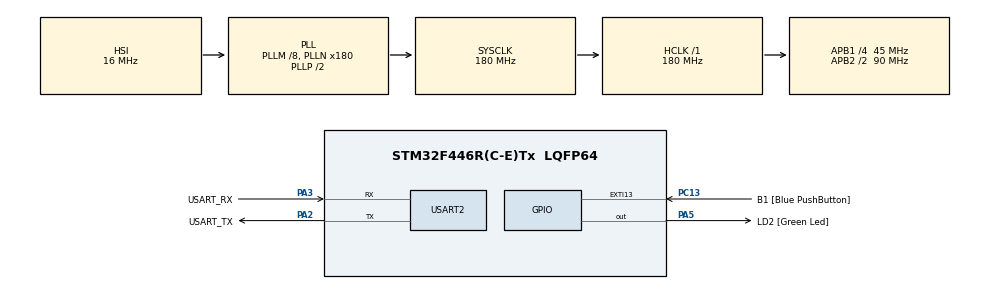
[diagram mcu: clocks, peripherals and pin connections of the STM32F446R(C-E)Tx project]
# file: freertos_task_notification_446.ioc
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FREERTOS.Tasks01=defaultTask,24,128,StartDefaultTask,Default,NULL,Dynamic,NULL,NULL
FREERTOS.configUSE_NEWLIB_REENTRANT=1
Mcu.Family=STM32F4
Mcu.Name=STM32F446R(C-E)Tx
Mcu.Package=LQFP64
NVIC.PriorityGroup=NVIC_PRIORITYGROUP_4
NVIC.TIM8_TRG_COM_TIM14_IRQn=true\:15\:0\:false\:false\:true\:false\:false\:true\:true
NVIC.TimeBase=TIM8_TRG_COM_TIM14_IRQn
NVIC.TimeBaseIP=TIM14
PA13.GPIO_Label=TMS
PA13.Mode=Serial_Wire
PA13.Signal=SYS_JTMS-SWDIO
PA14.GPIO_Label=TCK
PA14.Mode=Serial_Wire
PA14.Signal=SYS_JTCK-SWCLK
PA2.GPIO_Label=USART_TX
PA2.Mode=Asynchronous
PA2.Signal=USART2_TX
PA3.GPIO_Label=USART_RX
PA3.Mode=Asynchronous
PA3.Signal=USART2_RX
PA5.GPIO_Label=LD2 [Green Led]
PA5.Signal=GPIO_Output
PB3.GPIO_Label=SWO
PB3.Signal=SYS_JTDO-SWO
PC13.GPIO_Label=B1 [Blue PushButton]
PC13.GPIO_ModeDefaultEXTI=GPIO_MODE_IT_FALLING
PC13.Signal=GPXTI13
PC14-OSC32_IN.Mode=LSE-External-Oscillator
PC14-OSC32_IN.Signal=RCC_OSC32_IN
PC15-OSC32_OUT.Mode=LSE-External-Oscillator
PC15-OSC32_OUT.Signal=RCC_OSC32_OUT
PH0-OSC_IN.Mode=HSE-External-Oscillator
PH0-OSC_IN.Signal=RCC_OSC_IN
PH1-OSC_OUT.Mode=HSE-External-Oscillator
PH1-OSC_OUT.Signal=RCC_OSC_OUT
ProjectManager.HeapSize=0x200
ProjectManager.StackSize=0x400
ProjectManager.TargetToolchain=STM32CubeIDE
RCC.48MHZClocksFreq_Value=84000000
RCC.AHBFreq_Value=180000000
RCC.APB1CLKDivider=RCC_HCLK_DIV4
RCC.APB1Freq_Value=45000000
RCC.APB1TimFreq_Value=90000000
RCC.APB2CLKDivider=RCC_HCLK_DIV2
RCC.APB2Freq_Value=90000000
RCC.APB2TimFreq_Value=180000000
RCC.CortexFreq_Value=180000000
RCC.FLatency-AdvancedSettings=FLASH_LATENCY_5
RCC.HCLKFreq_Value=180000000
RCC.HSE_VALUE=8000000
RCC.HSI_VALUE=16000000
RCC.PLLM=8
RCC.PLLN=180
RCC.SYSCLKFreq_VALUE=180000000
RCC.SYSCLKSource=RCC_SYSCLKSOURCE_PLLCLK
RCC.USBFreq_Value=180000000
RCC.VCOOutputFreq_Value=360000000
USART2.VirtualMode=VM_ASYNC
VP_FREERTOS_VS_CMSIS_V2.Mode=CMSIS_V2
VP_SYS_VS_tim14.Mode=TIM14
board=NUCLEO-F446RE

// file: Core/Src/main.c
/* USER CODE BEGIN Header */
/**
  ******************************************************************************
  * @file           : main.c
  * @brief          : Main program body
  ******************************************************************************
  * @attention
  *
  * Copyright (c) 2026 STMicroelectronics.
  * All rights reserved.
  *
  * This software is licensed under terms that can be found in the LICENSE file
  * in the root directory of this software component.
  * If no LICENSE file comes with this software, it is provided AS-IS.
  *
  ******************************************************************************
  */
/* USER CODE END Header */
#include "main.h"
#include "cmsis_os.h"

/* USER CODE BEGIN Includes */
#include "task.h"
/* USER CODE END Includes */

UART_HandleTypeDef huart2;

/* Definitions for defaultTask */
osThreadId_t defaultTaskHandle;
const osThreadAttr_t defaultTask_attributes = {
  .name = "defaultTask",
  .stack_size = 128 * 4,
  .priority = (osPriority_t) osPriorityNormal,
};
/* USER CODE BEGIN PV */
TaskHandle_t puntero_tarea_led, puntero_tarea_boton;
/* USER CODE END PV */

void SystemClock_Config(void);
static void MX_GPIO_Init(void);
static void MX_USART2_UART_Init(void);
void StartDefaultTask(void *argument);

/* USER CODE BEGIN 0 */
void tarealed(void *p)
{
	while(1)
	{
		ulTaskNotifyTake(pdTRUE, portMAX_DELAY);
		HAL_GPIO_WritePin(LD2_GPIO_Port, LD2_Pin, GPIO_PIN_SET);
		vTaskDelay(pdMS_TO_TICKS(500));
		HAL_GPIO_WritePin(LD2_GPIO_Port, LD2_Pin, GPIO_PIN_RESET);
	}
}

void tareaboton(void *p)
{
	TickType_t anterior = xTaskGetTickCount();
	GPIO_PinState estado_anterior = HAL_GPIO_ReadPin(B1_GPIO_Port, B1_Pin);
	while(1)
	{
		GPIO_PinState estado_actual = HAL_GPIO_ReadPin(B1_GPIO_Port, B1_Pin);
		if(estado_actual == GPIO_PIN_RESET && estado_anterior == GPIO_PIN_SET)
		{
			if(xTaskGetTickCount()-anterior>=pdMS_TO_TICKS(50))
			{
						anterior = xTaskGetTickCount();
						xTaskNotifyGive(puntero_tarea_led);
			}
		}
		estado_anterior = estado_actual;
		vTaskDelay(pdMS_TO_TICKS(5));
	}
}
/* USER CODE END 0 */

int main(void)
{

  /* MCU Configuration--------------------------------------------------------*/

  /* Reset of all peripherals, Initializes the Flash interface and the Systick. */
  HAL_Init();

  /* Configure the system clock */
  SystemClock_Config();

  /* Initialize all configured peripherals */
  MX_GPIO_Init();
  MX_USART2_UART_Init();

  /* Init scheduler */
  osKernelInitialize();

  /* Create the thread(s) */
  /* creation of defaultTask */
  defaultTaskHandle = osThreadNew(StartDefaultTask, NULL, &defaultTask_attributes);

  /* USER CODE BEGIN RTOS_THREADS */
  /* add threads, ... */
  xTaskCreate(tarealed,
		  	  "led",
			  configMINIMAL_STACK_SIZE,
			  NULL,
			  osPriorityNormal,
			  &puntero_tarea_led);

  xTaskCreate(tareaboton,
  		  	  "btn",
  			  configMINIMAL_STACK_SIZE,
  			  NULL,
  			  osPriorityNormal,
  			  &puntero_tarea_boton);
  /* USER CODE END RTOS_THREADS */

  /* Start scheduler */
  osKernelStart();

  /* We should never get here as control is now taken by the scheduler */

  /* Infinite loop */
  while (1)
  {

  }
}

void SystemClock_Config(void)
{
  RCC_OscInitTypeDef RCC_OscInitStruct = {0};
  RCC_ClkInitTypeDef RCC_ClkInitStruct = {0};

  /** Configure the main internal regulator output voltage
  */
  __HAL_RCC_PWR_CLK_ENABLE();
  __HAL_PWR_VOLTAGESCALING_CONFIG(PWR_REGULATOR_VOLTAGE_SCALE1);

  /** Initializes the RCC Oscillators according to the specified parameters
  * in the RCC_OscInitTypeDef structure.
  */
  RCC_OscInitStruct.OscillatorType = RCC_OSCILLATORTYPE_HSI;
  RCC_OscInitStruct.HSIState = RCC_HSI_ON;
  RCC_OscInitStruct.HSICalibrationValue = RCC_HSICALIBRATION_DEFAULT;
  RCC_OscInitStruct.PLL.PLLState = RCC_PLL_ON;
  RCC_OscInitStruct.PLL.PLLSource = RCC_PLLSOURCE_HSI;
  RCC_OscInitStruct.PLL.PLLM = 8;
  RCC_OscInitStruct.PLL.PLLN = 180;
  RCC_OscInitStruct.PLL.PLLP = RCC_PLLP_DIV2;
  RCC_OscInitStruct.PLL.PLLQ = 2;
  RCC_OscInitStruct.PLL.PLLR = 2;
  if (HAL_RCC_OscConfig(&RCC_OscInitStruct) != HAL_OK)
  {
    Error_Handler();
  }

  /** Activate the Over-Drive mode
  */
  if (HAL_PWREx_EnableOverDrive() != HAL_OK)
  {
    Error_Handler();
  }

  /** Initializes the CPU, AHB and APB buses clocks
  */
  RCC_ClkInitStruct.ClockType = RCC_CLOCKTYPE_HCLK|RCC_CLOCKTYPE_SYSCLK
                              |RCC_CLOCKTYPE_PCLK1|RCC_CLOCKTYPE_PCLK2;
  RCC_ClkInitStruct.SYSCLKSource = RCC_SYSCLKSOURCE_PLLCLK;
  RCC_ClkInitStruct.AHBCLKDivider = RCC_SYSCLK_DIV1;
  RCC_ClkInitStruct.APB1CLKDivider = RCC_HCLK_DIV4;
  RCC_ClkInitStruct.APB2CLKDivider = RCC_HCLK_DIV2;

  if (HAL_RCC_ClockConfig(&RCC_ClkInitStruct, FLASH_LATENCY_5) != HAL_OK)
  {
    Error_Handler();
  }
}

static void MX_USART2_UART_Init(void)
{

  huart2.Instance = USART2;
  huart2.Init.BaudRate = 115200;
  huart2.Init.WordLength = UART_WORDLENGTH_8B;
  huart2.Init.StopBits = UART_STOPBITS_1;
  huart2.Init.Parity = UART_PARITY_NONE;
  huart2.Init.Mode = UART_MODE_TX_RX;
  huart2.Init.HwFlowCtl = UART_HWCONTROL_NONE;
  huart2.Init.OverSampling = UART_OVERSAMPLING_16;
  if (HAL_UART_Init(&huart2) != HAL_OK)
  {
    Error_Handler();
  }

}

static void MX_GPIO_Init(void)
{
  GPIO_InitTypeDef GPIO_InitStruct = {0};

  /* GPIO Ports Clock Enable */
  __HAL_RCC_GPIOC_CLK_ENABLE();
  __HAL_RCC_GPIOH_CLK_ENABLE();
  __HAL_RCC_GPIOA_CLK_ENABLE();
  __HAL_RCC_GPIOB_CLK_ENABLE();

  /*Configure GPIO pin Output Level */
  HAL_GPIO_WritePin(LD2_GPIO_Port, LD2_Pin, GPIO_PIN_RESET);

  /*Configure GPIO pin : B1_Pin */
  GPIO_InitStruct.Pin = B1_Pin;
  GPIO_InitStruct.Mode = GPIO_MODE_INPUT;
  GPIO_InitStruct.Pull = GPIO_PULLDOWN;
  HAL_GPIO_Init(B1_GPIO_Port, &GPIO_InitStruct);

  /*Configure GPIO pin : LD2_Pin */
  GPIO_InitStruct.Pin = LD2_Pin;
  GPIO_InitStruct.Mode = GPIO_MODE_OUTPUT_PP;
  GPIO_InitStruct.Pull = GPIO_NOPULL;
  GPIO_InitStruct.Speed = GPIO_SPEED_FREQ_LOW;
  HAL_GPIO_Init(LD2_GPIO_Port, &GPIO_InitStruct);

}

void StartDefaultTask(void *argument)
{
  for(;;)
  {
    osDelay(1);
  }
}

void HAL_TIM_PeriodElapsedCallback(TIM_HandleTypeDef *htim)
{
  if (htim->Instance == TIM14) {
    HAL_IncTick();
  }
}

void Error_Handler(void)
{
  __disable_irq();
  while (1)
  {
  }
}
